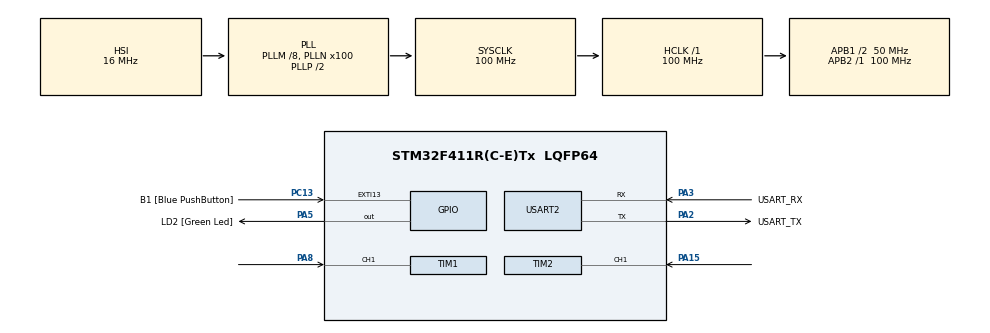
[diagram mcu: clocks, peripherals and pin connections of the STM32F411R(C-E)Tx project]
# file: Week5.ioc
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Mcu.Family=STM32F4
VP_TIM5_VS_ClockSourceINT.Mode=Internal
RCC.CortexFreq_Value=100000000
TIM2.Channel-Input_Capture1_from_TI1=TIM_CHANNEL_1
PA14.GPIO_Label=TCK
Dma.TIM1_CH1.0.MemDataAlignment=DMA_MDATAALIGN_HALFWORD
RCC.SYSCLKSource=RCC_SYSCLKSOURCE_PLLCLK
ProjectManager.StackSize=0x400
Dma.TIM1_CH1.0.MemInc=DMA_MINC_ENABLE
Dma.TIM2_CH1.1.FIFOMode=DMA_FIFOMODE_DISABLE
TIM1.Prescaler=99
PH0\ -\ OSC_IN.Signal=RCC_OSC_IN
NVIC.TIM5_IRQn=true\:0\:0\:false\:false\:true\:true\:true
Dma.TIM2_CH1.1.Direction=DMA_PERIPH_TO_MEMORY
RCC.HCLKFreq_Value=100000000
RCC.APB2TimFreq_Value=100000000
RCC.AHBFreq_Value=100000000
NVIC.TIM1_TRG_COM_TIM11_IRQn=true\:0\:0\:false\:false\:true\:true\:true
RCC.HSE_VALUE=8000000
PC13-ANTI_TAMP.Signal=GPXTI13
PC14-OSC32_IN.Mode=LSE-External-Oscillator
PA14.Mode=Serial_Wire
NVIC.TIM2_IRQn=true\:0\:0\:false\:false\:true\:true\:true
PA8.Signal=S_TIM1_CH1
VP_TIM1_VS_ClockSourceINT.Mode=Internal
RCC.FLatency-AdvancedSettings=FLASH_LATENCY_3
Mcu.Package=LQFP64
TIM2.Prescaler=99
Dma.TIM2_CH1.1.MemDataAlignment=DMA_MDATAALIGN_WORD
USART2.VirtualMode=VM_ASYNC
PA2.GPIO_Label=USART_TX
PA15.Signal=S_TIM2_CH1_ETR
Dma.TIM2_CH1.1.Priority=DMA_PRIORITY_LOW
Dma.Request1=TIM2_CH1
RCC.APB1TimFreq_Value=100000000
Dma.TIM2_CH1.1.PeriphDataAlignment=DMA_PDATAALIGN_WORD
Dma.Request0=TIM1_CH1
TIM1.ICFilter_CH1=2
PA3.Signal=USART2_RX
PB3.GPIO_Label=SWO
PC15-OSC32_OUT.Mode=LSE-External-Oscillator
Dma.TIM2_CH1.1.MemInc=DMA_MINC_ENABLE
PC13-ANTI_TAMP.GPIO_Label=B1 [Blue PushButton]
PH1\ -\ OSC_OUT.Mode=HSE-External-Clock-Source
Dma.TIM1_CH1.0.FIFOMode=DMA_FIFOMODE_DISABLE
TIM11.Prescaler=99
NVIC.DMA2_Stream1_IRQn=true\:0\:0\:false\:false\:true\:false\:true
RCC.APB1CLKDivider=RCC_HCLK_DIV2
PC14-OSC32_IN.Signal=RCC_OSC32_IN
Dma.TIM1_CH1.0.PeriphDataAlignment=DMA_PDATAALIGN_HALFWORD
Dma.TIM1_CH1.0.Priority=DMA_PRIORITY_LOW
TIM5.AutoReloadPreload=TIM_AUTORELOAD_PRELOAD_ENABLE
VP_TIM11_VS_ClockSourceINT.Mode=Enable_Timer
Dma.TIM1_CH1.0.PeriphInc=DMA_PINC_DISABLE
PA13.Signal=SYS_JTMS-SWDIO
PA3.Mode=Asynchronous
TIM5.TIM_MasterOutputTrigger=TIM_TRGO_RESET
PH0\ -\ OSC_IN.Mode=HSE-External-Clock-Source
Dma.TIM1_CH1.0.Mode=DMA_CIRCULAR
Dma.TIM2_CH1.1.Instance=DMA1_Stream5
SH.S_TIM1_CH1.0=TIM1_CH1,Input_Capture1_from_TI1
ProjectManager.TargetToolchain=STM32CubeIDE
NVIC.DMA1_Stream5_IRQn=true\:0\:0\:false\:false\:true\:false\:true
TIM2.ICFilter_CH1=2
PC15-OSC32_OUT.Signal=RCC_OSC32_OUT
PA5.Signal=GPIO_Output
PH1\ -\ OSC_OUT.Signal=RCC_OSC_OUT
board=NUCLEO-F411RE
RCC.VCOOutputFreq_Value=200000000
RCC.APB2Freq_Value=100000000
Dma.TIM2_CH1.1.PeriphInc=DMA_PINC_DISABLE
VP_TIM2_VS_ClockSourceINT.Mode=Internal
PA13.Mode=Serial_Wire
Mcu.Name=STM32F411R(C-E)Tx
PA13.GPIO_Label=TMS
PA2.Signal=USART2_TX
Dma.TIM1_CH1.0.Direction=DMA_PERIPH_TO_MEMORY
RCC.48MHZClocksFreq_Value=50000000
PB3.Signal=SYS_JTDO-SWO
RCC.SYSCLKFreq_VALUE=100000000
Dma.TIM1_CH1.0.Instance=DMA2_Stream1
PA5.GPIO_Label=LD2 [Green Led]
TIM5.Prescaler=99
TIM1.Channel-Input_Capture1_from_TI1=TIM_CHANNEL_1
PC13-ANTI_TAMP.GPIO_ModeDefaultEXTI=GPIO_MODE_IT_FALLING
SH.S_TIM2_CH1_ETR.0=TIM2_CH1,Input_Capture1_from_TI1
PA14.Signal=SYS_JTCK-SWCLK
ProjectManager.HeapSize=0x200
Dma.TIM2_CH1.1.Mode=DMA_CIRCULAR
RCC.HSI_VALUE=16000000
NVIC.PriorityGroup=NVIC_PRIORITYGROUP_0
RCC.PLLM=8
RCC.PLLN=100
PA2.Mode=Asynchronous
RCC.APB1Freq_Value=50000000
PA3.GPIO_Label=USART_RX

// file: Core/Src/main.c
/* USER CODE BEGIN Header */
/**
 ******************************************************************************
 * @file           : main.c
 * @brief          : Main program body
 ******************************************************************************
 * @attention
 *
 * <h2><center>&copy; Copyright (c) 2021 STMicroelectronics.
 * All rights reserved.</center></h2>+
 *
 * This software component is licensed by ST under BSD 3-Clause license,
 * the "License"; You may not use this file except in compliance with the
 * License. You may obtain a copy of the License at:
 *                        opensource.org/licenses/BSD-3-Clause
 *
 ******************************************************************************
 */
/* USER CODE END Header */
#include "main.h"

/* USER CODE BEGIN PD */
#define CAPTURENUM 16
/* USER CODE END PD */

TIM_HandleTypeDef htim1;
TIM_HandleTypeDef htim2;
TIM_HandleTypeDef htim5;
TIM_HandleTypeDef htim11;
DMA_HandleTypeDef hdma_tim1_ch1;
DMA_HandleTypeDef hdma_tim2_ch1;

UART_HandleTypeDef huart2;

/* USER CODE BEGIN PV */

//12 P/R , Gear reduction 1 : 64
//DMA Buffer
uint32_t capturedata[CAPTURENUM] = { 0 };

//diff time of capture data
int32_t DiffTime[CAPTURENUM - 1] = { 0 };

//Mean difftime
float MeanTime = 0;

//for microsecond measurement
uint64_t _micros = 0;

float rpm = 0;
/* USER CODE END PV */

void SystemClock_Config(void);
static void MX_GPIO_Init(void);
static void MX_DMA_Init(void);
static void MX_USART2_UART_Init(void);
static void MX_TIM11_Init(void);
static void MX_TIM1_Init(void);
static void MX_TIM2_Init(void);
static void MX_TIM5_Init(void);
/* USER CODE BEGIN PFP */
//Read speed of encoder
void encoderSpeedReaderCycle();
uint64_t micros();
/* USER CODE END PFP */

int main(void)
{

  /* MCU Configuration--------------------------------------------------------*/

  /* Reset of all peripherals, Initializes the Flash interface and the Systick. */
   HAL_Init();

  /* Configure the system clock */
  SystemClock_Config();

  /* Initialize all configured peripherals */
  MX_GPIO_Init();
  MX_DMA_Init();
  MX_USART2_UART_Init();
  MX_TIM11_Init();
  MX_TIM1_Init();
  MX_TIM2_Init();
  MX_TIM5_Init();
  /* USER CODE BEGIN 2 */
	//start Microsec timer
	HAL_TIM_Base_Start_IT(&htim5); // IT-open interrupt

	//start Input capture in DMA
	HAL_TIM_Base_Start(&htim2);
	HAL_TIM_IC_Start_DMA(&htim2, TIM_CHANNEL_1, (uint32_t*) capturedata,CAPTURENUM);
	uint64_t timestamp = 0;
  /* USER CODE END 2 */

  /* Infinite loop */
  /* USER CODE BEGIN WHILE */
	while (1) {

		//read Time of encoder
		encoderSpeedReaderCycle();

		if (micros() - timestamp > 100000) //us
		{
			timestamp = micros();
			HAL_GPIO_TogglePin(LD2_GPIO_Port, LD2_Pin);
		}

    /* USER CODE END WHILE */

	}
}

void SystemClock_Config(void)
{
  RCC_OscInitTypeDef RCC_OscInitStruct = {0};
  RCC_ClkInitTypeDef RCC_ClkInitStruct = {0};

  /** Configure the main internal regulator output voltage
  */
  __HAL_RCC_PWR_CLK_ENABLE();
  __HAL_PWR_VOLTAGESCALING_CONFIG(PWR_REGULATOR_VOLTAGE_SCALE1);
  /** Initializes the RCC Oscillators according to the specified parameters
  * in the RCC_OscInitTypeDef structure.
  */
  RCC_OscInitStruct.OscillatorType = RCC_OSCILLATORTYPE_HSI;
  RCC_OscInitStruct.HSIState = RCC_HSI_ON;
  RCC_OscInitStruct.HSICalibrationValue = RCC_HSICALIBRATION_DEFAULT;
  RCC_OscInitStruct.PLL.PLLState = RCC_PLL_ON;
  RCC_OscInitStruct.PLL.PLLSource = RCC_PLLSOURCE_HSI;
  RCC_OscInitStruct.PLL.PLLM = 8;
  RCC_OscInitStruct.PLL.PLLN = 100;
  RCC_OscInitStruct.PLL.PLLP = RCC_PLLP_DIV2;
  RCC_OscInitStruct.PLL.PLLQ = 4;
  if (HAL_RCC_OscConfig(&RCC_OscInitStruct) != HAL_OK)
  {
    Error_Handler();
  }
  /** Initializes the CPU, AHB and APB buses clocks
  */
  RCC_ClkInitStruct.ClockType = RCC_CLOCKTYPE_HCLK|RCC_CLOCKTYPE_SYSCLK
                              |RCC_CLOCKTYPE_PCLK1|RCC_CLOCKTYPE_PCLK2;
  RCC_ClkInitStruct.SYSCLKSource = RCC_SYSCLKSOURCE_PLLCLK;
  RCC_ClkInitStruct.AHBCLKDivider = RCC_SYSCLK_DIV1;
  RCC_ClkInitStruct.APB1CLKDivider = RCC_HCLK_DIV2;
  RCC_ClkInitStruct.APB2CLKDivider = RCC_HCLK_DIV1;

  if (HAL_RCC_ClockConfig(&RCC_ClkInitStruct, FLASH_LATENCY_3) != HAL_OK)
  {
    Error_Handler();
  }
}

static void MX_TIM1_Init(void)
{

  TIM_ClockConfigTypeDef sClockSourceConfig = {0};
  TIM_MasterConfigTypeDef sMasterConfig = {0};
  TIM_IC_InitTypeDef sConfigIC = {0};

  htim1.Instance = TIM1;
  htim1.Init.Prescaler = 99;
  htim1.Init.CounterMode = TIM_COUNTERMODE_UP;
  htim1.Init.Period = 65535;
  htim1.Init.ClockDivision = TIM_CLOCKDIVISION_DIV1;
  htim1.Init.RepetitionCounter = 0;
  htim1.Init.AutoReloadPreload = TIM_AUTORELOAD_PRELOAD_DISABLE;
  if (HAL_TIM_Base_Init(&htim1) != HAL_OK)
  {
    Error_Handler();
  }
  sClockSourceConfig.ClockSource = TIM_CLOCKSOURCE_INTERNAL;
  if (HAL_TIM_ConfigClockSource(&htim1, &sClockSourceConfig) != HAL_OK)
  {
    Error_Handler();
  }
  if (HAL_TIM_IC_Init(&htim1) != HAL_OK)
  {
    Error_Handler();
  }
  sMasterConfig.MasterOutputTrigger = TIM_TRGO_RESET;
  sMasterConfig.MasterSlaveMode = TIM_MASTERSLAVEMODE_DISABLE;
  if (HAL_TIMEx_MasterConfigSynchronization(&htim1, &sMasterConfig) != HAL_OK)
  {
    Error_Handler();
  }
  sConfigIC.ICPolarity = TIM_INPUTCHANNELPOLARITY_RISING;
  sConfigIC.ICSelection = TIM_ICSELECTION_DIRECTTI;
  sConfigIC.ICPrescaler = TIM_ICPSC_DIV1;
  sConfigIC.ICFilter = 2;
  if (HAL_TIM_IC_ConfigChannel(&htim1, &sConfigIC, TIM_CHANNEL_1) != HAL_OK)
  {
    Error_Handler();
  }

}

static void MX_TIM2_Init(void)
{

  TIM_ClockConfigTypeDef sClockSourceConfig = {0};
  TIM_MasterConfigTypeDef sMasterConfig = {0};
  TIM_IC_InitTypeDef sConfigIC = {0};

  htim2.Instance = TIM2;
  htim2.Init.Prescaler = 99;
  htim2.Init.CounterMode = TIM_COUNTERMODE_UP;
  htim2.Init.Period = 4294967295;
  htim2.Init.ClockDivision = TIM_CLOCKDIVISION_DIV1;
  htim2.Init.AutoReloadPreload = TIM_AUTORELOAD_PRELOAD_DISABLE;
  if (HAL_TIM_Base_Init(&htim2) != HAL_OK)
  {
    Error_Handler();
  }
  sClockSourceConfig.ClockSource = TIM_CLOCKSOURCE_INTERNAL;
  if (HAL_TIM_ConfigClockSource(&htim2, &sClockSourceConfig) != HAL_OK)
  {
    Error_Handler();
  }
  if (HAL_TIM_IC_Init(&htim2) != HAL_OK)
  {
    Error_Handler();
  }
  sMasterConfig.MasterOutputTrigger = TIM_TRGO_RESET;
  sMasterConfig.MasterSlaveMode = TIM_MASTERSLAVEMODE_DISABLE;
  if (HAL_TIMEx_MasterConfigSynchronization(&htim2, &sMasterConfig) != HAL_OK)
  {
    Error_Handler();
  }
  sConfigIC.ICPolarity = TIM_INPUTCHANNELPOLARITY_RISING;
  sConfigIC.ICSelection = TIM_ICSELECTION_DIRECTTI;
  sConfigIC.ICPrescaler = TIM_ICPSC_DIV1;
  sConfigIC.ICFilter = 2;
  if (HAL_TIM_IC_ConfigChannel(&htim2, &sConfigIC, TIM_CHANNEL_1) != HAL_OK)
  {
    Error_Handler();
  }

}

static void MX_TIM5_Init(void)
{

  TIM_ClockConfigTypeDef sClockSourceConfig = {0};
  TIM_MasterConfigTypeDef sMasterConfig = {0};

  htim5.Instance = TIM5;
  htim5.Init.Prescaler = 99;
  htim5.Init.CounterMode = TIM_COUNTERMODE_UP;
  htim5.Init.Period = 4294967295;
  htim5.Init.ClockDivision = TIM_CLOCKDIVISION_DIV1;
  htim5.Init.AutoReloadPreload = TIM_AUTORELOAD_PRELOAD_ENABLE;
  if (HAL_TIM_Base_Init(&htim5) != HAL_OK)
  {
    Error_Handler();
  }
  sClockSourceConfig.ClockSource = TIM_CLOCKSOURCE_INTERNAL;
  if (HAL_TIM_ConfigClockSource(&htim5, &sClockSourceConfig) != HAL_OK)
  {
    Error_Handler();
  }
  sMasterConfig.MasterOutputTrigger = TIM_TRGO_RESET;
  sMasterConfig.MasterSlaveMode = TIM_MASTERSLAVEMODE_DISABLE;
  if (HAL_TIMEx_MasterConfigSynchronization(&htim5, &sMasterConfig) != HAL_OK)
  {
    Error_Handler();
  }

}

static void MX_TIM11_Init(void)
{

  htim11.Instance = TIM11;
  htim11.Init.Prescaler = 99;
  htim11.Init.CounterMode = TIM_COUNTERMODE_UP;
  htim11.Init.Period = 65535;
  htim11.Init.ClockDivision = TIM_CLOCKDIVISION_DIV1;
  htim11.Init.AutoReloadPreload = TIM_AUTORELOAD_PRELOAD_DISABLE;
  if (HAL_TIM_Base_Init(&htim11) != HAL_OK)
  {
    Error_Handler();
  }

}

static void MX_USART2_UART_Init(void)
{

  huart2.Instance = USART2;
  huart2.Init.BaudRate = 115200;
  huart2.Init.WordLength = UART_WORDLENGTH_8B;
  huart2.Init.StopBits = UART_STOPBITS_1;
  huart2.Init.Parity = UART_PARITY_NONE;
  huart2.Init.Mode = UART_MODE_TX_RX;
  huart2.Init.HwFlowCtl = UART_HWCONTROL_NONE;
  huart2.Init.OverSampling = UART_OVERSAMPLING_16;
  if (HAL_UART_Init(&huart2) != HAL_OK)
  {
    Error_Handler();
  }

}

static void MX_DMA_Init(void)
{

  /* DMA controller clock enable */
  __HAL_RCC_DMA2_CLK_ENABLE();
  __HAL_RCC_DMA1_CLK_ENABLE();

  /* DMA interrupt init */
  /* DMA1_Stream5_IRQn interrupt configuration */
  HAL_NVIC_SetPriority(DMA1_Stream5_IRQn, 0, 0);
  HAL_NVIC_EnableIRQ(DMA1_Stream5_IRQn);
  /* DMA2_Stream1_IRQn interrupt configuration */
  HAL_NVIC_SetPriority(DMA2_Stream1_IRQn, 0, 0);
  HAL_NVIC_EnableIRQ(DMA2_Stream1_IRQn);

}

static void MX_GPIO_Init(void)
{
  GPIO_InitTypeDef GPIO_InitStruct = {0};

  /* GPIO Ports Clock Enable */
  __HAL_RCC_GPIOC_CLK_ENABLE();
  __HAL_RCC_GPIOH_CLK_ENABLE();
  __HAL_RCC_GPIOA_CLK_ENABLE();
  __HAL_RCC_GPIOB_CLK_ENABLE();

  /*Configure GPIO pin Output Level */
  HAL_GPIO_WritePin(LD2_GPIO_Port, LD2_Pin, GPIO_PIN_RESET);

  /*Configure GPIO pin : B1_Pin */
  GPIO_InitStruct.Pin = B1_Pin;
  GPIO_InitStruct.Mode = GPIO_MODE_IT_FALLING;
  GPIO_InitStruct.Pull = GPIO_NOPULL;
  HAL_GPIO_Init(B1_GPIO_Port, &GPIO_InitStruct);

  /*Configure GPIO pin : LD2_Pin */
  GPIO_InitStruct.Pin = LD2_Pin;
  GPIO_InitStruct.Mode = GPIO_MODE_OUTPUT_PP;
  GPIO_InitStruct.Pull = GPIO_NOPULL;
  GPIO_InitStruct.Speed = GPIO_SPEED_FREQ_LOW;
  HAL_GPIO_Init(LD2_GPIO_Port, &GPIO_InitStruct);
}

/* USER CODE BEGIN 4 */
//read Time of encoder
void encoderSpeedReaderCycle()
{
	//get DMA Position form number of data
	uint32_t CapPos = CAPTURENUM - __HAL_DMA_GET_COUNTER(htim2.hdma[TIM_DMA_ID_CC1]);
	uint32_t sum = 0;

	//calculate diff from all buffer
	for (register int i = 0; i < CAPTURENUM - 1; i++)
	{
		DiffTime[i] = capturedata[(CapPos + 1 + i) % CAPTURENUM] - capturedata[(CapPos + i) % CAPTURENUM];
		//time never go back, but timer can over flow , conpensate that
		if (DiffTime[i] < 0)
		{
			DiffTime[i] += 4294967295;
		}
		//Sum all 15 Diff
		sum += DiffTime[i];
	}

	//mean all 15 Diff
	MeanTime = sum / (float) (CAPTURENUM - 1);

	// meantime*12*64 = T
	// f(s) = 1/meantime*12*64
	// rpm = 60f(s)*1,000,000 milisec
	rpm = (60/(MeanTime*12*64))*1000000;
}
uint64_t micros()
{
	return _micros + htim5.Instance->CNT; //Instance-resister of Timer //counter of Timer11
}

//interrupt
void HAL_TIM_PeriodElapsedCallback(TIM_HandleTypeDef *htim)
{
	if (htim == &htim5)
	{
		_micros += 4294967295;
	}
}
/* USER CODE END 4 */

void Error_Handler(void)
{
	__disable_irq();
	while (1)
	{
	}
}

/************************ (C) COPYRIGHT STMicroelectronics *****END OF FILE****/
